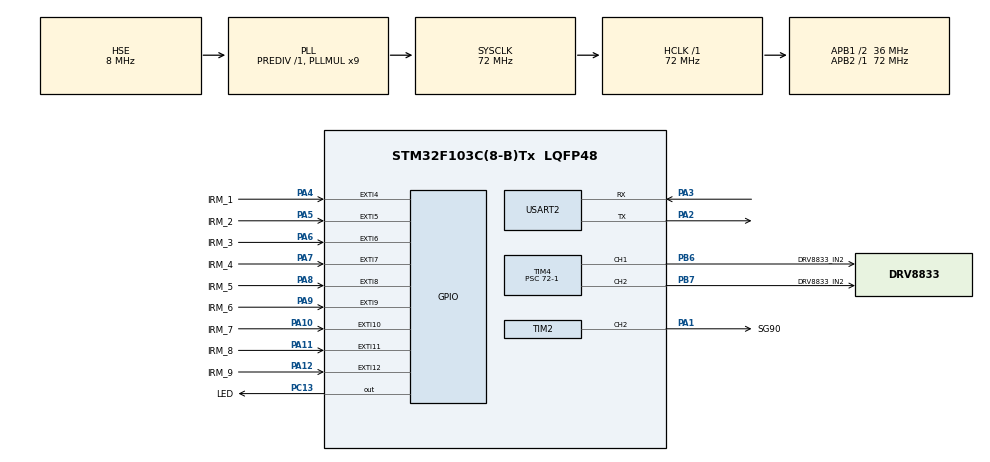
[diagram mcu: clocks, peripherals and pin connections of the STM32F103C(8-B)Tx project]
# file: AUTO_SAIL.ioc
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Mcu.Family=STM32F1
Mcu.Name=STM32F103C(8-B)Tx
Mcu.Package=LQFP48
NVIC.EXTI15_10_IRQn=true\:0\:0\:true\:false\:true\:true\:true\:true
NVIC.EXTI4_IRQn=true\:0\:0\:true\:false\:true\:true\:true\:true
NVIC.EXTI9_5_IRQn=true\:0\:0\:true\:false\:true\:true\:true\:true
NVIC.PriorityGroup=NVIC_PRIORITYGROUP_4
PA1.GPIO_Label=SG90
PA1.Signal=S_TIM2_CH2
PA10.GPIO_Label=IRM_7
PA10.GPIO_ModeDefaultEXTI=GPIO_MODE_IT_FALLING
PA10.Signal=GPXTI10
PA11.GPIO_Label=IRM_8
PA11.GPIO_ModeDefaultEXTI=GPIO_MODE_IT_FALLING
PA11.Signal=GPXTI11
PA12.GPIO_Label=IRM_9
PA12.GPIO_ModeDefaultEXTI=GPIO_MODE_IT_FALLING
PA12.Signal=GPXTI12
PA13.Mode=Serial_Wire
PA13.Signal=SYS_JTMS-SWDIO
PA14.Mode=Serial_Wire
PA14.Signal=SYS_JTCK-SWCLK
PA2.Mode=Asynchronous
PA2.Signal=USART2_TX
PA3.Mode=Asynchronous
PA3.Signal=USART2_RX
PA4.GPIO_Label=IRM_1
PA4.GPIO_ModeDefaultEXTI=GPIO_MODE_IT_FALLING
PA4.Signal=GPXTI4
PA5.GPIO_Label=IRM_2
PA5.GPIO_ModeDefaultEXTI=GPIO_MODE_IT_FALLING
PA5.Signal=GPXTI5
PA6.GPIO_Label=IRM_3
PA6.GPIO_ModeDefaultEXTI=GPIO_MODE_IT_FALLING
PA6.Signal=GPXTI6
PA7.GPIO_Label=IRM_4
PA7.GPIO_ModeDefaultEXTI=GPIO_MODE_IT_FALLING
PA7.Signal=GPXTI7
PA8.GPIO_Label=IRM_5
PA8.GPIO_ModeDefaultEXTI=GPIO_MODE_IT_FALLING
PA8.Signal=GPXTI8
PA9.GPIO_Label=IRM_6
PA9.GPIO_ModeDefaultEXTI=GPIO_MODE_IT_FALLING
PA9.Signal=GPXTI9
PB6.GPIO_Label=DRV8833_IN2
PB6.Signal=S_TIM4_CH1
PB7.GPIO_Label=DRV8833_IN2
PB7.Signal=S_TIM4_CH2
PC13-TAMPER-RTC.GPIO_Label=LED
PC13-TAMPER-RTC.Signal=GPIO_Output
PD0-OSC_IN.Mode=HSE-External-Oscillator
PD0-OSC_IN.Signal=RCC_OSC_IN
PD1-OSC_OUT.Mode=HSE-External-Oscillator
PD1-OSC_OUT.Signal=RCC_OSC_OUT
ProjectManager.HeapSize=0x200
ProjectManager.StackSize=0x400
ProjectManager.TargetToolchain=MDK-ARM V5.32
RCC.AHBFreq_Value=72000000
RCC.APB1CLKDivider=RCC_HCLK_DIV2
RCC.APB1Freq_Value=36000000
RCC.APB1TimFreq_Value=72000000
RCC.APB2Freq_Value=72000000
RCC.APB2TimFreq_Value=72000000
RCC.HCLKFreq_Value=72000000
RCC.PLLMUL=RCC_PLL_MUL9
RCC.PLLSourceVirtual=RCC_PLLSOURCE_HSE
RCC.SYSCLKFreq_VALUE=72000000
RCC.SYSCLKSource=RCC_SYSCLKSOURCE_PLLCLK
RCC.USBFreq_Value=72000000
SH.S_TIM2_CH2.0=TIM2_CH2,PWM Generation2 CH2
SH.S_TIM4_CH1.0=TIM4_CH1,PWM Generation1 CH1
SH.S_TIM4_CH2.0=TIM4_CH2,PWM Generation2 CH2
TIM2.Channel-PWM\ Generation2\ CH2=TIM_CHANNEL_2
TIM2.Period=2000-1
TIM2.Prescaler=720-1
TIM2.Pulse-PWM\ Generation2\ CH2=50
TIM4.Channel-PWM\ Generation1\ CH1=TIM_CHANNEL_1
TIM4.Channel-PWM\ Generation2\ CH2=TIM_CHANNEL_2
TIM4.Period=100
TIM4.Prescaler=72-1
USART2.VirtualMode=VM_ASYNC
VP_TIM2_VS_ClockSourceINT.Mode=Internal
VP_TIM4_VS_ClockSourceINT.Mode=Internal
board=custom

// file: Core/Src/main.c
/* USER CODE BEGIN Header */
/**
  ******************************************************************************
  * @file           : main.c
  * @brief          : Main program body
  ******************************************************************************
  * @attention
  *
  * Copyright (c) 2025 STMicroelectronics.
  * All rights reserved.
  *
  * This software is licensed under terms that can be found in the LICENSE file
  * in the root directory of this software component.
  * If no LICENSE file comes with this software, it is provided AS-IS.
  *
  ******************************************************************************
  */
/* USER CODE END Header */
#include "main.h"
#include "tim.h"
#include "usart.h"
#include "gpio.h"

/* USER CODE BEGIN Includes */
#include "sg90.h"
#include "drv8833.h"
/* USER CODE END Includes */

/* USER CODE BEGIN PD */
#define MAX_SPEED 100 // 最大速度值
/* USER CODE END PD */

/* USER CODE BEGIN PV */
float angle = 90;//舵机角度
uint8_t speed = 50;//电机速度
int fstFlag = 0;
/* USER CODE END PV */

void SystemClock_Config(void);

/* USER CODE BEGIN 0 */
void HAL_GPIO_EXTI_Callback(uint16_t GPIO_Pin)
{

  // 这里用来处理每个红外管收到信号后的操作
  // IRM_1_Pin--IRM_9_Pin分别对应PA3-PA12管脚
  if (GPIO_Pin == IRM_1_Pin)
  {
    HAL_UART_Transmit(&huart2, (uint8_t*)"1", sizeof("1"), 1000);
    HAL_GPIO_TogglePin(LED_GPIO_Port, LED_Pin); // Toggle the LED on PC13

  }
  if (GPIO_Pin == IRM_2_Pin)
  {
    HAL_UART_Transmit(&huart2, (uint8_t*)"2", sizeof("2"), 1000);
    HAL_GPIO_TogglePin(LED_GPIO_Port, LED_Pin); // Toggle the LED on PC13
    SG90_TurnRight();
  }
  if (GPIO_Pin == IRM_3_Pin)
  {
    HAL_UART_Transmit(&huart2, (uint8_t*)"3", sizeof("3"), 1000);
    HAL_GPIO_TogglePin(LED_GPIO_Port, LED_Pin); // Toggle the LED on PC13
  }
  if (GPIO_Pin == IRM_4_Pin)
  {
    HAL_UART_Transmit(&huart2, (uint8_t*)"4", sizeof("4"), 1000);
    HAL_GPIO_TogglePin(LED_GPIO_Port, LED_Pin); // Toggle the LED on PC13
  }
  if (GPIO_Pin == IRM_5_Pin)
  {
    HAL_UART_Transmit(&huart2, (uint8_t*)"5", sizeof("5"), 1000);
    HAL_GPIO_TogglePin(LED_GPIO_Port, LED_Pin); // Toggle the LED on PC13
  }
  if (GPIO_Pin == IRM_6_Pin)
  {
    HAL_UART_Transmit(&huart2, (uint8_t*)"6", sizeof("6"), 1000);
    HAL_GPIO_TogglePin(LED_GPIO_Port, LED_Pin); // Toggle the LED on PC13
  }
  if (GPIO_Pin == IRM_7_Pin)
  {
    HAL_UART_Transmit(&huart2, (uint8_t*)"7", sizeof("7"), 1000);
    HAL_GPIO_TogglePin(LED_GPIO_Port, LED_Pin); // Toggle the LED on PC13
  }
  if (GPIO_Pin == IRM_8_Pin)
  {
    HAL_UART_Transmit(&huart2, (uint8_t*)"8", sizeof("8"), 1000);
    HAL_GPIO_TogglePin(LED_GPIO_Port, LED_Pin); // Toggle the LED on PC13
    SG90_TurnLeft();
    HAL_Delay(20);
    if (HAL_GPIO_ReadPin(IRM_8_GPIO_Port, IRM_8_Pin) == GPIO_PIN_SET)
    return;
  }
  if (GPIO_Pin == IRM_9_Pin)
  {
    HAL_UART_Transmit(&huart2, (uint8_t*)"9", sizeof("9"), 1000);
    HAL_GPIO_TogglePin(LED_GPIO_Port, LED_Pin); // Toggle the LED on PC13
  }
}
/* USER CODE END 0 */

int main(void)
{

  /* MCU Configuration--------------------------------------------------------*/

  /* Reset of all peripherals, Initializes the Flash interface and the Systick. */
  HAL_Init();

  /* Configure the system clock */
  SystemClock_Config();

  /* Initialize all configured peripherals */
  MX_GPIO_Init();
  MX_USART2_UART_Init();
  MX_TIM2_Init();
  MX_TIM4_Init();
  /* USER CODE BEGIN 2 */
  SG90_Init();
  DRV8833_Init();
  /* USER CODE END 2 */

  /* Infinite loop */
  /* USER CODE BEGIN WHILE */
  HAL_UART_Transmit(&huart2, (uint8_t*) "REBOOT", sizeof("REBOOT"), 1000);
  // SG90_SetAngle(angle);
  DRV8833_Forward(speed); // 开始前进

  float duty = 2.5f;

  while (1)
  {

    // // 核心板上LED以1s为周期闪烁，表示程序正常运行
    // HAL_GPIO_TogglePin(LED_GPIO_Port, LED_Pin);
    // SG90_SetAngle(angle); // 设置舵机角度
    // angle += 10;
    // if (angle >= 180) // 如果角度超过180，重置为0
    // {
    //   angle = 0;
    // }
    // DRV8833_Forward(speed); // 控制电机前进
    // speed += 10; // 增加速度
    // if (speed > MAX_SPEED) // 如果速度超过MAX_SPEED，重置为0
    // {
    //   speed = 0;
    // }
    // HAL_Delay(1000); // 延时1秒

    // HAL_GPIO_TogglePin(LED_GPIO_Port, LED_Pin); // Toggle the LED on PC13
    // SG90_TurnLeft(); // 向左转
    // HAL_Delay(1000); // 延时1秒
    // HAL_GPIO_TogglePin(LED_GPIO_Port, LED_Pin); // Toggle the LED on PC13
    // SG90_TurnRight(); // 向右转
    // HAL_Delay(1000); // 延时1秒
    // SG90_SetAngle(180); // 设置舵机角度居中
    // HAL_Delay(1000); // 延时1秒
    /* USER CODE END WHILE */

  }
}

void SystemClock_Config(void)
{
  RCC_OscInitTypeDef RCC_OscInitStruct = {0};
  RCC_ClkInitTypeDef RCC_ClkInitStruct = {0};

  /** Initializes the RCC Oscillators according to the specified parameters
  * in the RCC_OscInitTypeDef structure.
  */
  RCC_OscInitStruct.OscillatorType = RCC_OSCILLATORTYPE_HSE;
  RCC_OscInitStruct.HSEState = RCC_HSE_ON;
  RCC_OscInitStruct.HSEPredivValue = RCC_HSE_PREDIV_DIV1;
  RCC_OscInitStruct.HSIState = RCC_HSI_ON;
  RCC_OscInitStruct.PLL.PLLState = RCC_PLL_ON;
  RCC_OscInitStruct.PLL.PLLSource = RCC_PLLSOURCE_HSE;
  RCC_OscInitStruct.PLL.PLLMUL = RCC_PLL_MUL9;
  if (HAL_RCC_OscConfig(&RCC_OscInitStruct) != HAL_OK)
  {
    Error_Handler();
  }

  /** Initializes the CPU, AHB and APB buses clocks
  */
  RCC_ClkInitStruct.ClockType = RCC_CLOCKTYPE_HCLK|RCC_CLOCKTYPE_SYSCLK
                              |RCC_CLOCKTYPE_PCLK1|RCC_CLOCKTYPE_PCLK2;
  RCC_ClkInitStruct.SYSCLKSource = RCC_SYSCLKSOURCE_PLLCLK;
  RCC_ClkInitStruct.AHBCLKDivider = RCC_SYSCLK_DIV1;
  RCC_ClkInitStruct.APB1CLKDivider = RCC_HCLK_DIV2;
  RCC_ClkInitStruct.APB2CLKDivider = RCC_HCLK_DIV1;

  if (HAL_RCC_ClockConfig(&RCC_ClkInitStruct, FLASH_LATENCY_2) != HAL_OK)
  {
    Error_Handler();
  }
}

void Error_Handler(void)
{
  __disable_irq();
  while (1)
  {
  }
}
